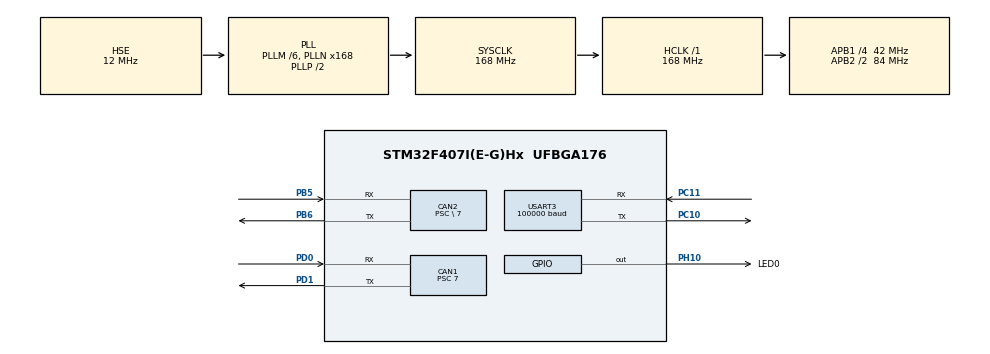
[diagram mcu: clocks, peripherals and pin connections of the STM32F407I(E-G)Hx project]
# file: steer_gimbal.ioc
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CAN1.ABOM=ENABLE
CAN1.BS1=CAN_BS1_2TQ
CAN1.BS2=CAN_BS2_3TQ
CAN1.CalculateBaudRate=999999
CAN1.CalculateTimeBit=1000
CAN1.CalculateTimeQuantum=166.66666666666669
CAN1.Prescaler=7
CAN2.ABOM=ENABLE
CAN2.BS1=CAN_BS1_2TQ
CAN2.BS2=CAN_BS2_3TQ
CAN2.CalculateBaudRate=999999
CAN2.CalculateTimeBit=1000
CAN2.CalculateTimeQuantum=166.66666666666669
CAN2.Prescaler=\ 7
Dma.Request0=USART3_RX
Dma.USART3_RX.0.Direction=DMA_PERIPH_TO_MEMORY
Dma.USART3_RX.0.FIFOMode=DMA_FIFOMODE_DISABLE
Dma.USART3_RX.0.Instance=DMA1_Stream1
Dma.USART3_RX.0.MemDataAlignment=DMA_MDATAALIGN_BYTE
Dma.USART3_RX.0.MemInc=DMA_MINC_ENABLE
Dma.USART3_RX.0.Mode=DMA_NORMAL
Dma.USART3_RX.0.PeriphDataAlignment=DMA_PDATAALIGN_BYTE
Dma.USART3_RX.0.PeriphInc=DMA_PINC_DISABLE
Dma.USART3_RX.0.Priority=DMA_PRIORITY_LOW
Mcu.Family=STM32F4
Mcu.Name=STM32F407I(E-G)Hx
Mcu.Package=UFBGA176
NVIC.CAN1_RX0_IRQn=true\:0\:0\:false\:false\:true\:true\:true\:true
NVIC.CAN1_TX_IRQn=true\:0\:0\:false\:false\:true\:true\:true\:true
NVIC.CAN2_RX1_IRQn=true\:0\:0\:false\:false\:true\:true\:true\:true
NVIC.CAN2_TX_IRQn=true\:0\:0\:false\:false\:true\:true\:true\:true
NVIC.DMA1_Stream1_IRQn=true\:0\:0\:false\:false\:true\:false\:true\:true
NVIC.PriorityGroup=NVIC_PRIORITYGROUP_4
NVIC.USART3_IRQn=true\:0\:0\:false\:false\:true\:true\:true\:true
PA13.Mode=Serial_Wire
PA13.Signal=SYS_JTMS-SWDIO
PA14.Mode=Serial_Wire
PA14.Signal=SYS_JTCK-SWCLK
PB5.Mode=CAN_Activate
PB5.Signal=CAN2_RX
PB6.Mode=CAN_Activate
PB6.Signal=CAN2_TX
PC10.Mode=Asynchronous
PC10.Signal=USART3_TX
PC11.Mode=Asynchronous
PC11.Signal=USART3_RX
PD0.Mode=CAN_Activate
PD0.Signal=CAN1_RX
PD1.Mode=CAN_Activate
PD1.Signal=CAN1_TX
PH0-OSC_IN.Mode=HSE-External-Oscillator
PH0-OSC_IN.Signal=RCC_OSC_IN
PH1-OSC_OUT.Mode=HSE-External-Oscillator
PH1-OSC_OUT.Signal=RCC_OSC_OUT
PH10.GPIO_Label=LED0
PH10.Signal=GPIO_Output
ProjectManager.HeapSize=0x200
ProjectManager.StackSize=0x400
ProjectManager.TargetToolchain=STM32CubeIDE
RCC.48MHZClocksFreq_Value=84000000
RCC.AHBFreq_Value=168000000
RCC.APB1CLKDivider=RCC_HCLK_DIV4
RCC.APB1Freq_Value=42000000
RCC.APB1TimFreq_Value=84000000
RCC.APB2CLKDivider=RCC_HCLK_DIV2
RCC.APB2Freq_Value=84000000
RCC.APB2TimFreq_Value=168000000
RCC.CortexFreq_Value=168000000
RCC.HCLKFreq_Value=168000000
RCC.HSE_VALUE=12000000
RCC.HSI_VALUE=16000000
RCC.LSE_VALUE=32768
RCC.PLLM=6
RCC.PLLN=168
RCC.PLLSourceVirtual=RCC_PLLSOURCE_HSE
RCC.SYSCLKFreq_VALUE=168000000
RCC.SYSCLKSource=RCC_SYSCLKSOURCE_PLLCLK
RCC.VCOOutputFreq_Value=336000000
USART3.BaudRate=100000
USART3.VirtualMode=VM_ASYNC
USART3.WordLength=WORDLENGTH_9B
board=custom

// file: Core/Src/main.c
/* USER CODE BEGIN Header */
/**
  ******************************************************************************
  * @file           : main.c
  * @brief          : Main program body
  ******************************************************************************
  * @attention
  *
  * Copyright (c) 2024 STMicroelectronics.
  * All rights reserved.
  *
  * This software is licensed under terms that can be found in the LICENSE file
  * in the root directory of this software component.
  * If no LICENSE file comes with this software, it is provided AS-IS.
  *
  ******************************************************************************
  */
/* USER CODE END Header */
#include "main.h"
#include "can.h"
#include "dma.h"
#include "usart.h"
#include "gpio.h"

/* USER CODE BEGIN Includes */
#include "mycan.h"
#include "dr16.h"
#include "gimbal_control.h"
extern uint8_t UART_RECV[512];
extern motor_t  yaw_6020_info;
extern boardA_info boardA_info1;
extern pid_struct_t gimbal_pitch_speed_pid;
/* USER CODE END Includes */

void SystemClock_Config(void);

int main(void)
{

  /* MCU Configuration--------------------------------------------------------*/

  /* Reset of all peripherals, Initializes the Flash interface and the Systick. */
  HAL_Init();

  /* Configure the system clock */
  SystemClock_Config();

  /* Initialize all configured peripherals */
  MX_GPIO_Init();
  MX_DMA_Init();
  MX_CAN1_Init();
  MX_CAN2_Init();
  MX_USART3_UART_Init();
  /* USER CODE BEGIN 2 */
    my_can1_init ();
    my_can2_init ();
    all_pid_init();
     RC_Init();
  /* USER CODE END 2 */

  /* Infinite loop */
  while (1)
  {

    /* USER CODE BEGIN 3 */
      control_pitch_6020(boardA_info1.UART_pitch);
    if(boardA_info1.UART_flag1==2&&boardA_info1.UART_flag2==3)
{
    control_yaw_6020(boardA_info1.UART_yaw);
}

        shoot();
      HAL_Delay(1);
  }
  /* USER CODE END 3 */
}

void SystemClock_Config(void)
{
  RCC_OscInitTypeDef RCC_OscInitStruct = {0};
  RCC_ClkInitTypeDef RCC_ClkInitStruct = {0};

  /** Configure the main internal regulator output voltage
  */
  __HAL_RCC_PWR_CLK_ENABLE();
  __HAL_PWR_VOLTAGESCALING_CONFIG(PWR_REGULATOR_VOLTAGE_SCALE1);

  /** Initializes the RCC Oscillators according to the specified parameters
  * in the RCC_OscInitTypeDef structure.
  */
  RCC_OscInitStruct.OscillatorType = RCC_OSCILLATORTYPE_HSE;
  RCC_OscInitStruct.HSEState = RCC_HSE_ON;
  RCC_OscInitStruct.PLL.PLLState = RCC_PLL_ON;
  RCC_OscInitStruct.PLL.PLLSource = RCC_PLLSOURCE_HSE;
  RCC_OscInitStruct.PLL.PLLM = 6;
  RCC_OscInitStruct.PLL.PLLN = 168;
  RCC_OscInitStruct.PLL.PLLP = RCC_PLLP_DIV2;
  RCC_OscInitStruct.PLL.PLLQ = 4;
  if (HAL_RCC_OscConfig(&RCC_OscInitStruct) != HAL_OK)
  {
    Error_Handler();
  }

  /** Initializes the CPU, AHB and APB buses clocks
  */
  RCC_ClkInitStruct.ClockType = RCC_CLOCKTYPE_HCLK|RCC_CLOCKTYPE_SYSCLK
                              |RCC_CLOCKTYPE_PCLK1|RCC_CLOCKTYPE_PCLK2;
  RCC_ClkInitStruct.SYSCLKSource = RCC_SYSCLKSOURCE_PLLCLK;
  RCC_ClkInitStruct.AHBCLKDivider = RCC_SYSCLK_DIV1;
  RCC_ClkInitStruct.APB1CLKDivider = RCC_HCLK_DIV4;
  RCC_ClkInitStruct.APB2CLKDivider = RCC_HCLK_DIV2;

  if (HAL_RCC_ClockConfig(&RCC_ClkInitStruct, FLASH_LATENCY_5) != HAL_OK)
  {
    Error_Handler();
  }
}

/* USER CODE BEGIN 4 */
void HAL_UARTEx_RxEventCallback(UART_HandleTypeDef *huart, uint16_t Size)
{
    RemoteDataProcess(UART_RECV,&RC_CtrlData);
    HAL_UARTEx_ReceiveToIdle_DMA(&huart3,UART_RECV,18);
    __HAL_DMA_DISABLE_IT(huart3.hdmarx, DMA_IT_HT);

}
/* USER CODE END 4 */

void Error_Handler(void)
{
  __disable_irq();
  while (1)
  {
  }
}
